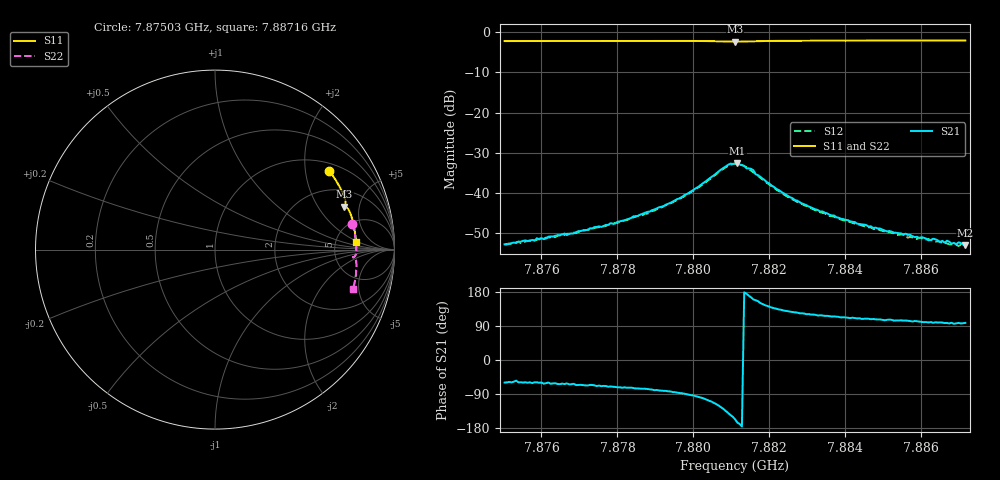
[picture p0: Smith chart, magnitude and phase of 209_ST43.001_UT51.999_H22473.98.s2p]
#  HZ  S  DB  R  50.00
! Rohde & Schwarz Vector Network Analyzer
! Rohde-Schwarz,ZNB20-2Port,1311601062101988,3.16
! Created: UTC 1/12/2023, 6:44:56 PM
! freq[Hz]  db:S11  ang:S11  db:S21  ang:S21  db:S12  ang:S12  db:S22  ang:S22
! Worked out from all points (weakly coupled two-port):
!   201 points, 7.87503 GHz to 7.88716 GHz, reference 50 ohm
!   highest |S21| = -32.61 dB at 7.88116 GHz (marker M1); lowest = -53.0 dB at 7.88716 GHz (marker M2)
!   lowest |S11| = -2.4 dB at 7.88109 GHz (marker M3), VSWR 7.33, Z = 157 + j177 ohm
!   |S11| at or under -10 dB: nowhere
!   |S22| runs from -2.3 to -1.9 dB; largest |S21 - S12| = 0.0019
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7.875029e9  -2.24 34.4  -52.80 -59.6  -52.88 -60.8  -2.17 10.6
7.877091e9  -2.20 28.8  -49.32 -66.3  -49.33 -69.6  -2.11 5.7
7.877941e9  -2.19 26.5  -47.61 -71.2  -47.45 -73.7  -2.08 3.7
7.879093e9  -2.18 23.3  -43.57 -80.3  -43.81 -82.8  -2.07 1.0
7.879881e9  -2.20 21.0  -39.97 -91.5  -40.20 -94.7  -2.08 -1.0
7.880913e9  -2.36 18.4  -33.02 -139.7  -33.30 -142.9  -2.24 -3.2
7.881095e9  -2.38 18.4  -32.72 -156.2  -32.74 -160.7  -2.28 -3.2
7.881155e9  -2.38 18.4  -32.61 -165.0  -32.79 -166.9  -2.28 -3.1
7.88158e9  -2.28 18.0  -34.35 159.7  -34.88 156.8  -2.17 -3.3
7.88164e9  -2.27 17.8  -35.37 157.7  -35.30 153.3  -2.16 -3.4
7.882368e9  -2.17 15.7  -40.04 130.8  -40.35 127.4  -2.04 -5.1
7.883157e9  -2.13 13.5  -43.86 119.8  -44.11 116.1  -2.00 -7.0
7.884309e9  -2.11 10.4  -47.65 109.6  -47.80 107.7  -1.97 -9.6
7.885158e9  -2.10 8.1  -49.46 106.6  -49.74 101.9  -1.96 -11.5
7.88534e9  -2.10 7.7  -49.91 104.4  -50.48 102.2  -1.95 -12.0
7.885522e9  -2.10 7.2  -50.42 104.1  -50.30 100.5  -1.95 -12.4
7.885644e9  -2.10 6.9  -50.44 103.7  -51.14 99.2  -1.95 -12.6
7.886189e9  -2.09 5.4  -51.78 99.2  -51.44 98.2  -1.94 -13.8
7.886311e9  -2.09 5.1  -51.39 98.0  -51.85 96.4  -1.94 -14.1
7.886493e9  -2.08 4.6  -52.19 99.2  -52.24 95.6  -1.95 -14.5
7.886675e9  -2.08 4.2  -51.89 97.8  -52.57 94.4  -1.95 -14.8
7.88716e9  -2.08 2.9  -52.97 97.9  -53.25 93.4  -1.93 -15.9
